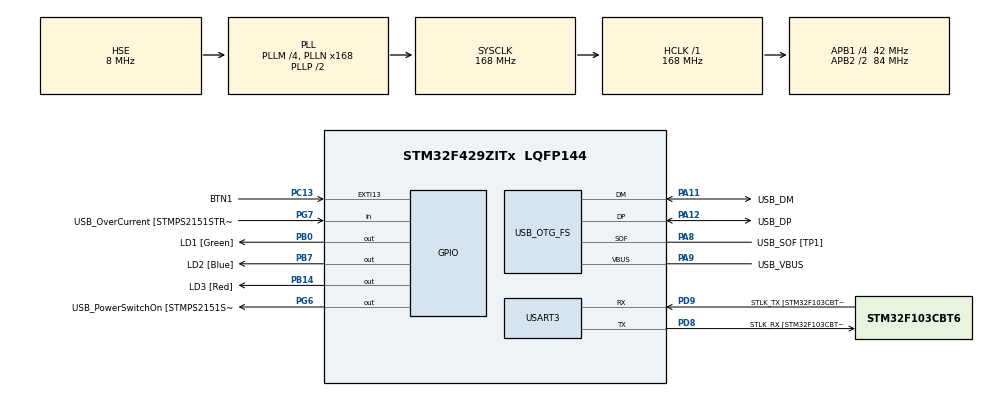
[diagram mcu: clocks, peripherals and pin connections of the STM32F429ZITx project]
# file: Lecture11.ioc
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Mcu.Family=STM32F4
Mcu.Name=STM32F429ZITx
Mcu.Package=LQFP144
NVIC.OTG_FS_IRQn=true\:0\:0\:false\:false\:true\:false\:true\:true
NVIC.PriorityGroup=NVIC_PRIORITYGROUP_4
PA1.GPIO_Label=RMII_REF_CLK [LAN8742A-CZ-TR_REFCLK0]
PA1.Signal=ETH_REF_CLK
PA10.GPIO_Label=USB_ID
PA10.Signal=USB_OTG_FS_ID
PA11.GPIO_Label=USB_DM
PA11.Mode=Device_Only
PA11.Signal=USB_OTG_FS_DM
PA12.GPIO_Label=USB_DP
PA12.Mode=Device_Only
PA12.Signal=USB_OTG_FS_DP
PA13.GPIO_Label=TMS
PA13.Mode=Serial_Wire
PA13.Signal=SYS_JTMS-SWDIO
PA14.GPIO_Label=TCK
PA14.Mode=Serial_Wire
PA14.Signal=SYS_JTCK-SWCLK
PA2.GPIO_Label=RMII_MDIO [LAN8742A-CZ-TR_MDIO]
PA2.Signal=ETH_MDIO
PA7.GPIO_Label=RMII_CRS_DV [LAN8742A-CZ-TR_CRS_DV]
PA7.Signal=ETH_CRS_DV
PA8.GPIO_Label=USB_SOF [TP1]
PA8.Mode=Activate_SOF_FS
PA8.Signal=USB_OTG_FS_SOF
PA9.GPIO_Label=USB_VBUS
PA9.Mode=Activate_VBUS
PA9.Signal=USB_OTG_FS_VBUS
PB0.GPIO_Label=LD1 [Green]
PB0.Signal=GPIO_Output
PB13.GPIO_Label=RMII_TXD1 [LAN8742A-CZ-TR_TXD1]
PB13.Signal=ETH_TXD1
PB14.GPIO_Label=LD3 [Red]
PB14.Signal=GPIO_Output
PB7.GPIO_Label=LD2 [Blue]
PB7.Signal=GPIO_Output
PC1.GPIO_Label=RMII_MDC [LAN8742A-CZ-TR_MDC]
PC1.Signal=ETH_MDC
PC13.GPIO_Label=BTN1
PC13.Signal=GPXTI13
PC14/OSC32_IN.Mode=LSE-External-Oscillator
PC14/OSC32_IN.Signal=RCC_OSC32_IN
PC15/OSC32_OUT.Mode=LSE-External-Oscillator
PC15/OSC32_OUT.Signal=RCC_OSC32_OUT
PC4.GPIO_Label=RMII_RXD0 [LAN8742A-CZ-TR_RXD0]
PC4.Signal=ETH_RXD0
PC5.GPIO_Label=RMII_RXD1 [LAN8742A-CZ-TR_RXD1]
PC5.Signal=ETH_RXD1
PD8.GPIO_Label=STLK_RX [STM32F103CBT6_PA3]
PD8.Mode=Asynchronous
PD8.Signal=USART3_TX
PD9.GPIO_Label=STLK_TX [STM32F103CBT6_PA2]
PD9.Mode=Asynchronous
PD9.Signal=USART3_RX
PG11.GPIO_Label=RMII_TX_EN [LAN8742A-CZ-TR_TXEN]
PG11.Signal=ETH_TX_EN
PG13.GPIO_Label=RMII_TXD0 [LAN8742A-CZ-TR_TXD0]
PG13.Signal=ETH_TXD0
PG6.GPIO_Label=USB_PowerSwitchOn [STMPS2151STR_EN]
PG6.Signal=GPIO_Output
PG7.GPIO_Label=USB_OverCurrent [STMPS2151STR_FAULT]
PG7.Signal=GPIO_Input
PH0/OSC_IN.GPIO_Label=MCO [STM32F103CBT6_PA8]
PH0/OSC_IN.Mode=HSE-External-Clock-Source
PH0/OSC_IN.Signal=RCC_OSC_IN
PH1/OSC_OUT.Mode=HSE-External-Clock-Source
PH1/OSC_OUT.Signal=RCC_OSC_OUT
ProjectManager.HeapSize=0x200
ProjectManager.StackSize=0x400
ProjectManager.TargetToolchain=STM32CubeIDE
RCC.48MHZClocksFreq_Value=48000000
RCC.AHBFreq_Value=168000000
RCC.APB1CLKDivider=RCC_HCLK_DIV4
RCC.APB1Freq_Value=42000000
RCC.APB1TimFreq_Value=84000000
RCC.APB2CLKDivider=RCC_HCLK_DIV2
RCC.APB2Freq_Value=84000000
RCC.APB2TimCLKDivider=2
RCC.APB2TimFreq_Value=168000000
RCC.CortexFreq_Value=168000000
RCC.HCLKFreq_Value=168000000
RCC.HSE_VALUE=8000000
RCC.HSI_VALUE=16000000
RCC.PLLM=4
RCC.PLLMUL=RCC_PLL_MUL9
RCC.PLLN=168
RCC.PLLQ=7
RCC.PRESCALERUSB=RCC_USBCLKSOURCE_PLL_DIV1_5
RCC.SYSCLKFreq_VALUE=168000000
RCC.SYSCLKSource=RCC_SYSCLKSOURCE_PLLCLK
RCC.SYSCLKSourceVirtual=RCC_SYSCLKSOURCE_PLLCLK
RCC.USBFreq_Value=48000000
RCC.VCOOutputFreq_Value=336000000
USART3.VirtualMode=VM_ASYNC
USB_DEVICE.CLASS_NAME_FS=HID
USB_DEVICE.VirtualMode-HID_FS=Hid
USB_DEVICE.VirtualModeFS=Hid_FS
USB_OTG_FS.VirtualMode=Device_Only
VP_USB_DEVICE_VS_USB_DEVICE_HID_FS.Mode=HID_FS
board=NUCLEO-F429ZI

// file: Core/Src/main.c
/* USER CODE BEGIN Header */
/**
  ******************************************************************************
  * @file           : main.c
  * @brief          : Main program body
  ******************************************************************************
  * @attention
  *
  * Copyright (c) 2024 STMicroelectronics.
  * All rights reserved.
  *
  * This software is licensed under terms that can be found in the LICENSE file
  * in the root directory of this software component.
  * If no LICENSE file comes with this software, it is provided AS-IS.
  *
  ******************************************************************************
  */
/* USER CODE END Header */
#include "main.h"
#include "usb_device.h"

/* USER CODE BEGIN Includes */
#include "usbd_hid.h"
#include <math.h>
// std bool?

/* USER CODE END Includes */

/* USER CODE BEGIN PTD */
__ALIGN_BEGIN static uint8_t HID_MOUSE_ReportDesc[101] __ALIGN_END =
{
/* 47 */
 0x05, 0x01, // USAGE_PAGE (Generic Desktop)
 0x09, 0x06, // USAGE (Keyboard)
 0xa1, 0x01, // COLLECTION (Application)
 0x85, 0x01, // REPORT_ID (1)
 0x05, 0x07, // USAGE_PAGE (Keyboard)
 0x19, 0xe0, // USAGE_MINIMUM (Keyboard LeftControl)
 0x29, 0xe7, // USAGE_MAXIMUM (Keyboard Right GUI)
 0x15, 0x00, // LOGICAL_MINIMUM (0)
 0x25, 0x01, // LOGICAL_MAXIMUM (1)
 0x75, 0x01, // REPORT_SIZE (1)
 0x95, 0x08, // REPORT_COUNT (8)
 0x81, 0x02, // INPUT (Data,Var,Abs)
 0x95, 0x01, // REPORT_COUNT (1)
 0x75, 0x08, // REPORT_SIZE (8)
 0x81, 0x03, // INPUT (Cnst,Var,Abs)
 0x95, 0x06, // REPORT_COUNT (6)
 0x75, 0x08, // REPORT_SIZE (8)
 0x15, 0x00, // LOGICAL_MINIMUM (0)
 0x25, 0x65, // LOGICAL_MAXIMUM (101)
 0x05, 0x07, // USAGE_PAGE (Keyboard)
 0x19, 0x00, // USAGE_MINIMUM (Reserved (no event indicated))
 0x29, 0x65, // USAGE_MAXIMUM (Keyboard Application)
 0x81, 0x00, // INPUT (Data,Ary,Abs)
 0xc0, // END_COLLECTION
/* 54 */
 0x05, 0x01, // USAGE_PAGE (Generic Desktop)
 0x09, 0x02, // USAGE (Mouse)
 0xa1, 0x01, // COLLECTION (Application)
 0x09, 0x01, // USAGE (Pointer)
 0xa1, 0x00, // COLLECTION (Physical)
 0x85, 0x02, // REPORT_ID (2)
 0x05, 0x09, // USAGE_PAGE (Button)
 0x19, 0x01, // USAGE_MINIMUM (Button 1)
 0x29, 0x03, // USAGE_MAXIMUM (Button 3)
 0x15, 0x00, // LOGICAL_MINIMUM (0)
 0x25, 0x01, // LOGICAL_MAXIMUM (1)
 0x95, 0x03, // REPORT_COUNT (3)
 0x75, 0x01, // REPORT_SIZE (1)
 0x81, 0x02, // INPUT (Data,Var,Abs)
 0x95, 0x01, // REPORT_COUNT (1)
 0x75, 0x05, // REPORT_SIZE (5)
 0x81, 0x03, // INPUT (Cnst,Var,Abs)
 0x05, 0x01, // USAGE_PAGE (Generic Desktop)
 0x09, 0x30, // USAGE (X)
 0x09, 0x31, // USAGE (Y)
 0x09, 0x38, // USAGE (Wheel)
 0x15, 0x81, // LOGICAL_MINIMUM (-127)
 0x25, 0x7f, // LOGICAL_MAXIMUM (127)
 0x75, 0x08, // REPORT_SIZE (8)
 0x95, 0x03, // REPORT_COUNT (3)
 0x81, 0x06, // INPUT (Data,Var,Rel)
 0xc0, // END_COLLECTION
 0xc0, // END_COLLECTION
};
/* USER CODE END PTD */

/* USER CODE BEGIN PD */
#define BTN_PRESSED 1
#define BTN_RELEASED 0
/* USER CODE END PD */

UART_HandleTypeDef huart3;

/* USER CODE BEGIN PV */
extern USBD_HandleTypeDef hUsbDeviceFS;
/* USER CODE END PV */

void SystemClock_Config(void);
static void MX_GPIO_Init(void);
static void MX_USART3_UART_Init(void);

/* USER CODE BEGIN 0 */
void step(int x, int y,uint8_t btn){
	uint8_t buff[4];
	buff[0] = 0x00 | btn; // press the left button
	buff[1] = (int8_t)(x); // shift X
	buff[2] = (int8_t)(y); // shift Y
	buff[3] = 0; // no scroll
	USBD_HID_SendReport(&hUsbDeviceFS, buff, sizeof(buff));
	HAL_Delay(USBD_HID_GetPollingInterval(&hUsbDeviceFS));
}

void circle(int radius, uint8_t half){
	float x = 0, y = 0;
	step(x,y,BTN_RELEASED);
	if(!half){
		for(int i = 0; i <= 360; i++){
			x = round(radius * cos(i * (M_PI/180)));
			y = round(radius * sin(i * (M_PI/180)));
			step((int)x,(int)y,BTN_PRESSED);
		}
	} else {
		for(int i = 90; i <= 270; i++){
			x = round(radius * cos(i * (M_PI/180)));
			y = round(radius * sin(i * (M_PI/180)));
			step((int)x,(int)y,BTN_PRESSED);
			}
	}
	step(0,0,BTN_RELEASED);
}
/* USER CODE END 0 */

int main(void)
{

  /* MCU Configuration--------------------------------------------------------*/

  /* Reset of all peripherals, Initializes the Flash interface and the Systick. */
  HAL_Init();

  /* Configure the system clock */
  SystemClock_Config();

  /* Initialize all configured peripherals */
  MX_GPIO_Init();
  MX_USART3_UART_Init();
  MX_USB_DEVICE_Init();

  /* Infinite loop */
  /* USER CODE BEGIN WHILE */
  while (1)
  {
	  if (HAL_GPIO_ReadPin(BTN1_GPIO_Port, BTN1_Pin)) {
	      // eyes
	      circle(2, 0);
	      step(126, 0, BTN_RELEASED);  // Adjusted for int8_t range
	      circle(2, 0);

	      // mouth
	      step(10, 100, BTN_RELEASED);  // Adjusted for int8_t range
	      circle(3, 1);

	      // nose
	      step(80, -10, BTN_RELEASED);  // Adjusted for int8_t range
	      step(0, 0, BTN_PRESSED);
	      step(0, -40, BTN_PRESSED);    // Adjusted for int8_t range
	      step(0, 0, BTN_RELEASED);

	      // head
	      step(0, -70, BTN_RELEASED);  // Adjusted for int8_t range
	      circle(5, 0);

	      // release the button
	      step(0, 0, BTN_RELEASED);
	  }
    /* USER CODE END WHILE */

  }
}

void SystemClock_Config(void)
{
  RCC_OscInitTypeDef RCC_OscInitStruct = {0};
  RCC_ClkInitTypeDef RCC_ClkInitStruct = {0};

  /** Configure the main internal regulator output voltage
  */
  __HAL_RCC_PWR_CLK_ENABLE();
  __HAL_PWR_VOLTAGESCALING_CONFIG(PWR_REGULATOR_VOLTAGE_SCALE1);

  /** Initializes the RCC Oscillators according to the specified parameters
  * in the RCC_OscInitTypeDef structure.
  */
  RCC_OscInitStruct.OscillatorType = RCC_OSCILLATORTYPE_HSE;
  RCC_OscInitStruct.HSEState = RCC_HSE_BYPASS;
  RCC_OscInitStruct.PLL.PLLState = RCC_PLL_ON;
  RCC_OscInitStruct.PLL.PLLSource = RCC_PLLSOURCE_HSE;
  RCC_OscInitStruct.PLL.PLLM = 4;
  RCC_OscInitStruct.PLL.PLLN = 168;
  RCC_OscInitStruct.PLL.PLLP = RCC_PLLP_DIV2;
  RCC_OscInitStruct.PLL.PLLQ = 7;
  if (HAL_RCC_OscConfig(&RCC_OscInitStruct) != HAL_OK)
  {
    Error_Handler();
  }

  /** Initializes the CPU, AHB and APB buses clocks
  */
  RCC_ClkInitStruct.ClockType = RCC_CLOCKTYPE_HCLK|RCC_CLOCKTYPE_SYSCLK
                              |RCC_CLOCKTYPE_PCLK1|RCC_CLOCKTYPE_PCLK2;
  RCC_ClkInitStruct.SYSCLKSource = RCC_SYSCLKSOURCE_PLLCLK;
  RCC_ClkInitStruct.AHBCLKDivider = RCC_SYSCLK_DIV1;
  RCC_ClkInitStruct.APB1CLKDivider = RCC_HCLK_DIV4;
  RCC_ClkInitStruct.APB2CLKDivider = RCC_HCLK_DIV2;

  if (HAL_RCC_ClockConfig(&RCC_ClkInitStruct, FLASH_LATENCY_5) != HAL_OK)
  {
    Error_Handler();
  }
}

static void MX_USART3_UART_Init(void)
{

  huart3.Instance = USART3;
  huart3.Init.BaudRate = 115200;
  huart3.Init.WordLength = UART_WORDLENGTH_8B;
  huart3.Init.StopBits = UART_STOPBITS_1;
  huart3.Init.Parity = UART_PARITY_NONE;
  huart3.Init.Mode = UART_MODE_TX_RX;
  huart3.Init.HwFlowCtl = UART_HWCONTROL_NONE;
  huart3.Init.OverSampling = UART_OVERSAMPLING_16;
  if (HAL_UART_Init(&huart3) != HAL_OK)
  {
    Error_Handler();
  }

}

static void MX_GPIO_Init(void)
{
  GPIO_InitTypeDef GPIO_InitStruct = {0};

  /* GPIO Ports Clock Enable */
  __HAL_RCC_GPIOC_CLK_ENABLE();
  __HAL_RCC_GPIOH_CLK_ENABLE();
  __HAL_RCC_GPIOA_CLK_ENABLE();
  __HAL_RCC_GPIOB_CLK_ENABLE();
  __HAL_RCC_GPIOD_CLK_ENABLE();
  __HAL_RCC_GPIOG_CLK_ENABLE();

  /*Configure GPIO pin Output Level */
  HAL_GPIO_WritePin(GPIOB, LD1_Pin|LD3_Pin|LD2_Pin, GPIO_PIN_RESET);

  /*Configure GPIO pin Output Level */
  HAL_GPIO_WritePin(USB_PowerSwitchOn_GPIO_Port, USB_PowerSwitchOn_Pin, GPIO_PIN_RESET);

  /*Configure GPIO pin : BTN1_Pin */
  GPIO_InitStruct.Pin = BTN1_Pin;
  GPIO_InitStruct.Mode = GPIO_MODE_IT_RISING;
  GPIO_InitStruct.Pull = GPIO_NOPULL;
  HAL_GPIO_Init(BTN1_GPIO_Port, &GPIO_InitStruct);

  /*Configure GPIO pins : RMII_MDC_Pin RMII_RXD0_Pin RMII_RXD1_Pin */
  GPIO_InitStruct.Pin = RMII_MDC_Pin|RMII_RXD0_Pin|RMII_RXD1_Pin;
  GPIO_InitStruct.Mode = GPIO_MODE_AF_PP;
  GPIO_InitStruct.Pull = GPIO_NOPULL;
  GPIO_InitStruct.Speed = GPIO_SPEED_FREQ_VERY_HIGH;
  GPIO_InitStruct.Alternate = GPIO_AF11_ETH;
  HAL_GPIO_Init(GPIOC, &GPIO_InitStruct);

  /*Configure GPIO pins : RMII_REF_CLK_Pin RMII_MDIO_Pin RMII_CRS_DV_Pin */
  GPIO_InitStruct.Pin = RMII_REF_CLK_Pin|RMII_MDIO_Pin|RMII_CRS_DV_Pin;
  GPIO_InitStruct.Mode = GPIO_MODE_AF_PP;
  GPIO_InitStruct.Pull = GPIO_NOPULL;
  GPIO_InitStruct.Speed = GPIO_SPEED_FREQ_VERY_HIGH;
  GPIO_InitStruct.Alternate = GPIO_AF11_ETH;
  HAL_GPIO_Init(GPIOA, &GPIO_InitStruct);

  /*Configure GPIO pins : LD1_Pin LD3_Pin LD2_Pin */
  GPIO_InitStruct.Pin = LD1_Pin|LD3_Pin|LD2_Pin;
  GPIO_InitStruct.Mode = GPIO_MODE_OUTPUT_PP;
  GPIO_InitStruct.Pull = GPIO_NOPULL;
  GPIO_InitStruct.Speed = GPIO_SPEED_FREQ_LOW;
  HAL_GPIO_Init(GPIOB, &GPIO_InitStruct);

  /*Configure GPIO pin : RMII_TXD1_Pin */
  GPIO_InitStruct.Pin = RMII_TXD1_Pin;
  GPIO_InitStruct.Mode = GPIO_MODE_AF_PP;
  GPIO_InitStruct.Pull = GPIO_NOPULL;
  GPIO_InitStruct.Speed = GPIO_SPEED_FREQ_VERY_HIGH;
  GPIO_InitStruct.Alternate = GPIO_AF11_ETH;
  HAL_GPIO_Init(RMII_TXD1_GPIO_Port, &GPIO_InitStruct);

  /*Configure GPIO pin : USB_PowerSwitchOn_Pin */
  GPIO_InitStruct.Pin = USB_PowerSwitchOn_Pin;
  GPIO_InitStruct.Mode = GPIO_MODE_OUTPUT_PP;
  GPIO_InitStruct.Pull = GPIO_NOPULL;
  GPIO_InitStruct.Speed = GPIO_SPEED_FREQ_LOW;
  HAL_GPIO_Init(USB_PowerSwitchOn_GPIO_Port, &GPIO_InitStruct);

  /*Configure GPIO pin : USB_OverCurrent_Pin */
  GPIO_InitStruct.Pin = USB_OverCurrent_Pin;
  GPIO_InitStruct.Mode = GPIO_MODE_INPUT;
  GPIO_InitStruct.Pull = GPIO_NOPULL;
  HAL_GPIO_Init(USB_OverCurrent_GPIO_Port, &GPIO_InitStruct);

  /*Configure GPIO pins : RMII_TX_EN_Pin RMII_TXD0_Pin */
  GPIO_InitStruct.Pin = RMII_TX_EN_Pin|RMII_TXD0_Pin;
  GPIO_InitStruct.Mode = GPIO_MODE_AF_PP;
  GPIO_InitStruct.Pull = GPIO_NOPULL;
  GPIO_InitStruct.Speed = GPIO_SPEED_FREQ_VERY_HIGH;
  GPIO_InitStruct.Alternate = GPIO_AF11_ETH;
  HAL_GPIO_Init(GPIOG, &GPIO_InitStruct);

}

void Error_Handler(void)
{
  __disable_irq();
  while (1)
  {
  }
}
